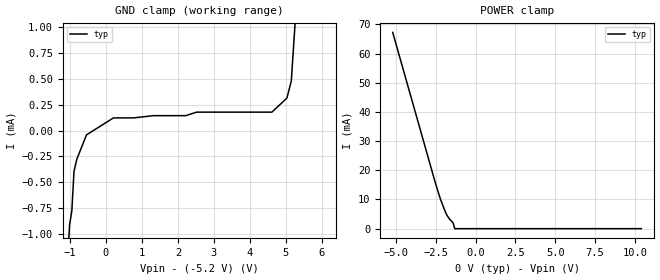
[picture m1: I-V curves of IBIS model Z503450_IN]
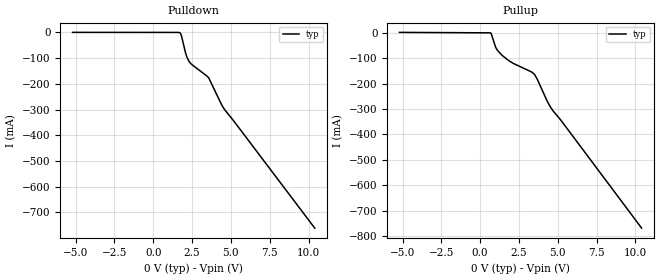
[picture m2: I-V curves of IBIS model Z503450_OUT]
| YOU ARE ONLY AUTHORIZED TO USE THIS SOFTWARE
| ACCORDING TO LICENSOR'S LICENSE RESTRICTIONS.
[IBIS Ver] 3.1
[File Name] mc10h164l.ibs
[File Rev] 2.0
[Source] Measured and created by ICX Technology
[Date] Friday 7/14/00 9:07:50 AM
[Copyright]
| (C) COPYRIGHT 1993-2000
| MENTOR GRAPHICS CORPORATION
| ICX STANDARD LIBRARY, ICX PROJECT MODELING,
| ICX CUSTOM MODELING, ICX VENDOR MODEL
| ALL RIGHTS RESERVED.
| THE FOLLOWING ARE TRADEMARKS OR SERVICE MARKS OF
| MENTOR GRAPHICS CORPORATION:ICX (R), ICX STANDARD
| LIBRARY(R), ICX PROJECT MODELING(R), ICX CUSTOM
| MODELING(R), qualityIBIS(TM), MODELVIEWER(TM),
| AND MODELEDITOR(TM)
| ALL COPIES OF SOFTWARE, INCLUDING BUT NOT LIMITED TO
| ANY MODIFICATIONS, ENHANCEMENTS OR DERIVATIVE WORKS,
| MUST CONTAIN ALL MENTOR GRAPHICS CORPORATION'S
| NOTICES AND LEGENDS, INCLUDING THOSE EMBEDDED IN
| SOFTWARE AND THOSE AFFIXED TO SOFTWARE MEDIUM
| AND CONTAINER, AS RECEIVED FROM MENTOR GRAPHICS
| CORPORATION.
|  ZAP Model Builder 2.7
[Component] MC10H164L
[Manufacturer] OnSemiconductor
[Package]
| variable   typ   min   max
R_pkg  .212ohms NA NA
L_pkg  4.758nH NA NA
C_pkg  1.944pF NA NA
[Pin] signal_name  model_name  R_pin  L_pin C_pin
1 VCC2 POWER .224 7.258n 2.683p
2 _EN Z503450_IN .216 5.258n 2.19p
3 X3 Z503450_IN .208 3.758n 1.697p
4 X2 Z503450_IN .2 2.758n 1.204p
5 X1 Z503450_IN .2 2.758n 1.204p
6 X0 Z503450_IN .208 3.758n 1.697p
7 A Z503450_IN .216 5.258n 2.19p
8 VEE POWER .224 7.258n 2.683p
9 B Z503450_IN .224 7.258n 2.683p
10 C Z503450_IN .216 5.258n 2.19p
11 X4 Z503450_IN .208 3.758n 1.697p
12 X5 Z503450_IN .2 2.758n 1.204p
13 X6 Z503450_IN .2 2.758n 1.204p
14 X7 Z503450_IN .208 3.758n 1.697p
15 Z Z503450_OUT .216 5.258n 2.19p
16 VCC1 POWER .224 7.258n 2.683p
| Models and submodels in the file (2): Z503450_IN (Input_ECL), Z503450_OUT (Output_ECL)
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| (C) COPYRIGHT 1993-2000
| MENTOR GRAPHICS CORPORATION
| ICX STANDARD LIBRARY, ICX PROJECT MODELING,
| ICX CUSTOM MODELING, ICX VENDOR MODEL
| ALL RIGHTS RESERVED.
| THE FOLLOWING ARE TRADEMARKS OR SERVICE MARKS OF
| MENTOR GRAPHICS CORPORATION:ICX (R), ICX STANDARD
| LIBRARY(R), ICX PROJECT MODELING(R), ICX CUSTOM
| MODELING(R), qualityIBIS(TM), MODELVIEWER(TM),
| AND MODELEDITOR(TM)
| ALL COPIES OF SOFTWARE, INCLUDING BUT NOT LIMITED TO
| ANY MODIFICATIONS, ENHANCEMENTS OR DERIVATIVE WORKS,
| MUST CONTAIN ALL MENTOR GRAPHICS CORPORATION'S
| NOTICES AND LEGENDS, INCLUDING THOSE EMBEDDED IN
| SOFTWARE AND THOSE AFFIXED TO SOFTWARE MEDIUM
| AND CONTAINER, AS RECEIVED FROM MENTOR GRAPHICS
| CORPORATION.
| Model Application Version 1.89 2/18/99.
[Model] Z503450_IN
Model_type Input_ECL
Vinl = -1.480V
Vinh = -1.130V
C_comp 4.000pF NA NA
| variable typ   min   max
[Voltage Range] -5.200V NA NA
[GND Clamp Reference] -5.200V NA NA
[POWER Clamp Reference] 0.000V NA NA
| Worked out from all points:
|   GND clamp passes 1 mA (typ) near -1.03 V on its own axis
|   POWER clamp passes 1 mA (typ) near -1.36 V on its own axis
[GND Clamp]
-5.2V     -13.53mA   NA         NA
-1.206V   -2.057mA   NA         NA
-1.011V   -910.3uA   NA         NA
-947mV    -769uA     NA         NA
-889mV    -395.7uA   NA         NA
-811mV    -277.3uA   NA         NA
-540.7mV  -41.83uA   NA         NA
208mV     121.6uA    NA         NA
4.611V    177.1uA    NA         NA
5.029V    312.4uA    NA         NA
5.151V    477.4uA    NA         NA
10.4V     28.22mA    NA         NA
[POWER Clamp]
-5.2V     67.27mA    NA         NA
-2.51V    15.42mA    NA         NA
-2.202V   10.06mA    NA         NA
-1.885V   5.602mA    NA         NA
-1.792V   4.573mA    NA         NA
-1.65V    3.394mA    NA         NA
-1.416V   2.021mA    NA         NA
-1.307V   0A         NA         NA
10.4V     0A         NA         NA
| (C) COPYRIGHT 1993-2000
| MENTOR GRAPHICS CORPORATION
| ICX STANDARD LIBRARY, ICX PROJECT MODELING,
| ICX CUSTOM MODELING, ICX VENDOR MODEL
| ALL RIGHTS RESERVED.
| THE FOLLOWING ARE TRADEMARKS OR SERVICE MARKS OF
| MENTOR GRAPHICS CORPORATION:ICX (R), ICX STANDARD
| LIBRARY(R), ICX PROJECT MODELING(R), ICX CUSTOM
| MODELING(R), qualityIBIS(TM), MODELVIEWER(TM),
| AND MODELEDITOR(TM)
| ALL COPIES OF SOFTWARE, INCLUDING BUT NOT LIMITED TO
| ANY MODIFICATIONS, ENHANCEMENTS OR DERIVATIVE WORKS,
| MUST CONTAIN ALL MENTOR GRAPHICS CORPORATION'S
| NOTICES AND LEGENDS, INCLUDING THOSE EMBEDDED IN
| SOFTWARE AND THOSE AFFIXED TO SOFTWARE MEDIUM
| AND CONTAINER, AS RECEIVED FROM MENTOR GRAPHICS
| CORPORATION.
| Model Application Version 1.89 2/18/99.
[Model] Z503450_OUT
Model_type Output_ECL
Vref=-2.000V
Rref=50.00ohms
Cref=0.000F
Vmeas=-1.305V
C_comp 8.000pF NA NA
| variable typ   min   max
[Voltage Range] -5.200V NA NA
[POWER Clamp Reference] 0.000V NA NA
[Pullup Reference] 0.000V NA NA
[Pulldown Reference] 0.000V NA NA
[GND Clamp Reference] -5.200V NA NA
[GND Clamp]
-5.2V     0A         NA         NA
10.4V     0A         NA         NA
[Pulldown]
-5.2V     260.1uA    NA         NA
1.719V    -1.583mA   NA         NA
1.812V    -12.61mA   NA         NA
2.09V     -82.62mA   NA         NA
2.193V    -99.77mA   NA         NA
2.319V    -114.3mA   NA         NA
2.506V    -126mA     NA         NA
3.568V    -176.4mA   NA         NA
4.39V     -280.1mA   NA         NA
4.57V     -298.5mA   NA         NA
5.184V    -344.6mA   NA         NA
10.4V     -761.3mA   NA         NA
[Pullup]
-5.2V     1.639mA    NA         NA
703mV     -2.046mA   NA         NA
1.002V    -57.78mA   NA         NA
1.407V    -88.39mA   NA         NA
2.114V    -119.9mA   NA         NA
3.315V    -154.2mA   NA         NA
3.504V    -163.9mA   NA         NA
3.682V    -183.2mA   NA         NA
4.307V    -267.6mA   NA         NA
4.536V    -293.2mA   NA         NA
5.186V    -342.9mA   NA         NA
10.4V     -768.3mA   NA         NA
[POWER Clamp]
-5.2V     0A         NA         NA
10.4V     0A         NA         NA
[Ramp]
| variable typ min max
dV/dt_r 587.6m/539.5p NA NA
dV/dt_f 587.6m/608.1p NA NA
R_load = 500.0Ohms
